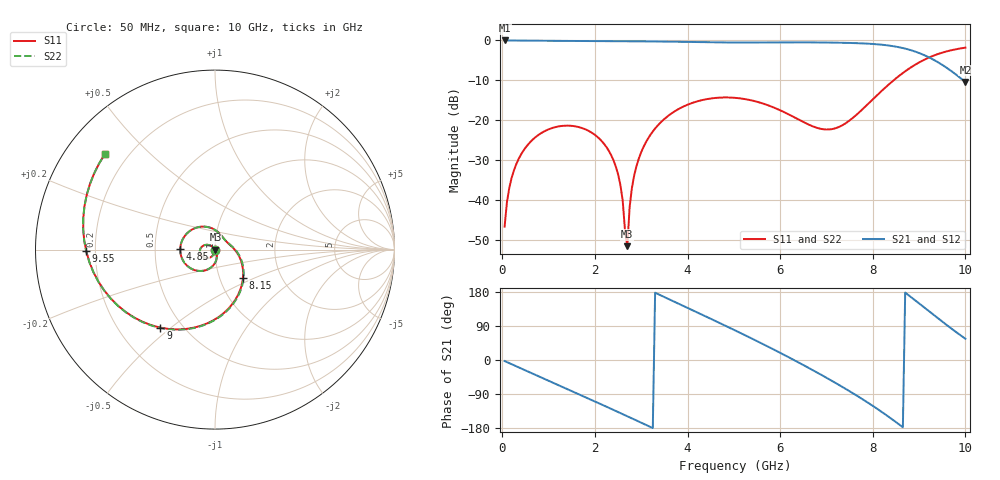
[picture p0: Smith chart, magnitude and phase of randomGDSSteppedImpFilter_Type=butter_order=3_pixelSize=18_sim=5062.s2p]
! freq	dB(S11)	phase(S11)	dB(S12)	phase(S12)
!  dB(S21)	phase(S21)	dB(S22)	phase(S22)
!S-par simulation data
#  GHz  S  DB  R 50
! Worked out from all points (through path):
!   200 points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, 50 MHz to 10 GHz, reference 50 ohm
!   highest |S21| = 0.00 dB at 50 MHz (marker M1); lowest = -10.4 dB at 10 GHz (marker M2)
!   group delay of S21, straight-line fit = 178 ps
!   lowest |S11| = -51.4 dB at 2.7 GHz (marker M3), VSWR 1.01, Z = 50.3 - j0.0607 ohm
!   |S11| at or under -10 dB: start of sweep to 8.447 GHz
!   |S22| runs from -52.7 to -1.8 dB; largest |S21 - S12| = 0
!   S11 on the Smith chart (normalised r, x): 50 MHz: 1.00, -0.01; 4.85 GHz: 0.68, +0.01; 8.15 GHz: 1.29, -0.43; 9 GHz: 0.38, -0.46; 9.55 GHz: 0.16, -0.01; 10 GHz: 0.12, +0.37
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0.05  -46.55 -90.9  -0.00 -2.8  -0.00 -2.8  -46.29 -89.8
0.2  -34.43 -100.4  -0.02 -11.0  -0.02 -11.0  -34.42 -100.3
0.55  -26.10 -120.3  -0.05 -30.2  -0.05 -30.2  -26.11 -120.3
1.2  -21.53 -156.5  -0.11 -65.6  -0.11 -65.6  -21.54 -156.4
1.75  -22.03 172.9  -0.14 -95.7  -0.14 -95.7  -22.03 173.2
2.45  -31.50 132.2  -0.16 -134.4  -0.16 -134.4  -31.51 133.6
2.6  -40.05 118.9  -0.17 -142.8  -0.17 -142.8  -40.13 123.1
2.7  -51.44 -13.0  -0.18 -148.5  -0.18 -148.5  -52.74 -20.7
2.75  -41.64 -52.4  -0.18 -151.3  -0.18 -151.3  -41.70 -57.9
2.9  -31.32 -67.5  -0.20 -159.8  -0.20 -159.8  -31.32 -69.2
3.4  -20.73 -97.7  -0.27 171.8  -0.27 171.8  -20.73 -98.3
4.2  -15.26 -143.6  -0.43 126.1  -0.43 126.1  -15.26 -143.9
4.85  -14.26 178.9  -0.51 88.5  -0.51 88.5  -14.25 178.7
5.05  -14.38 167.2  -0.52 76.8  -0.52 76.8  -14.37 167.0
5.95  -17.20 112.3  -0.48 22.1  -0.48 22.1  -17.20 112.6
6.7  -21.46 63.1  -0.49 -26.5  -0.49 -26.5  -21.45 64.5
7.5  -20.01 6.5  -0.62 -82.4  -0.62 -82.4  -20.00 8.7
8.15  -13.08 -45.4  -1.02 -133.4  -1.02 -133.4  -13.08 -44.1
8.35  -10.96 -63.0  -1.28 -150.5  -1.28 -150.5  -10.97 -61.9
9  -5.50 -125.0  -3.14 149.3  -3.14 149.3  -5.51 -124.4
9.55  -2.88 -179.4  -6.48 96.6  -6.48 96.6  -2.89 -179.1
10  -1.80 139.0  -10.42 56.1  -10.42 56.1  -1.81 139.2
